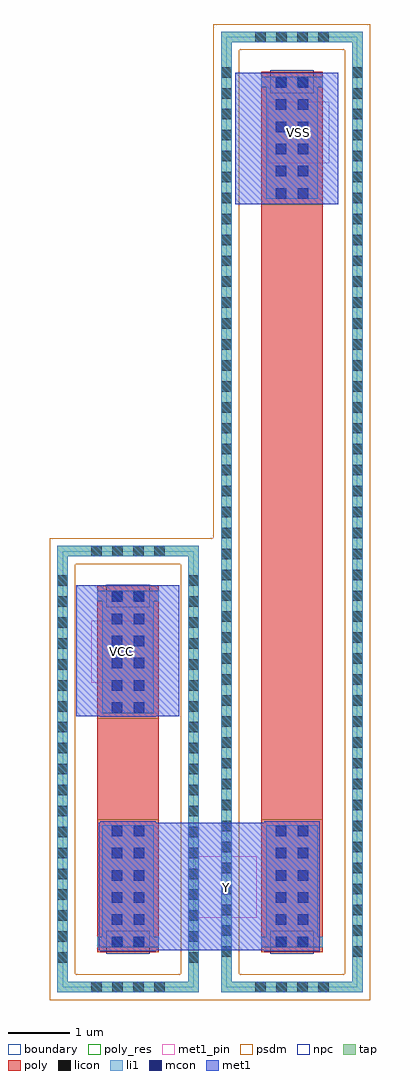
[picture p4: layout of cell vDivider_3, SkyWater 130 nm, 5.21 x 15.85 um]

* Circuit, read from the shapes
.subckt vDivider_3 VCC VSS Y
R1 VCC Y sky130_fd_pr__res_generic_po w=1 l=1.65
R2 VSS Y sky130_fd_pr__res_generic_po w=1 l=10
.ends

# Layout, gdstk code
import gdstk
lib = gdstk.Library(unit=1e-6, precision=1e-09)
def R(c, l, rs):  # rectangles x0, y0, x1, y1
    for r in rs: c.add(gdstk.rectangle(r[:2], r[2:], *l))
def A(c, l, x, y, w, h, nx, ny, dx, dy):  # array of equal rectangles
    R(c, l, [(x+i*dx, y+j*dy, x+i*dx+w, y+j*dy+h) for i in range(nx) for j in range(ny)])
tap = (65, 44)
poly_res = (66, 13)
poly = (66, 20)
licon = (66, 44)
li1 = (67, 20)
mcon = (67, 44)
met1_pin = (68, 16)
met1 = (68, 20)
psdm = (94, 20)
npc = (95, 20)
boundary = (235, 4)

sky130_fd_pr__res_generi = lib.new_cell('sky130_fd_pr__res_generic_po_4WEV9M')
R(sky130_fd_pr__res_generi, tap, [(-1.15,-3.625,1.15,-3.455), (-1.15,-3.455,-0.98,3.455), (0.98,-3.455,1.15,3.455), (-1.15,3.455,1.15,3.625)])
R(sky130_fd_pr__res_generi, poly_res, [(-0.5,-0.825,0.5,0.825)])
R(sky130_fd_pr__res_generi, poly, [(-0.5,-2.975,0.5,2.975)])
A(sky130_fd_pr__res_generi, licon, -0.595, -3.625, 0.17, 0.17, 4, 2, 0.34, 7.08)
A(sky130_fd_pr__res_generi, licon, -1.15, -3.145, 0.17, 0.17, 1, 19, 0, 0.34)
A(sky130_fd_pr__res_generi, licon, 0.98, -3.145, 0.17, 0.17, 1, 19, 0, 0.34)
R(sky130_fd_pr__res_generi, licon, [(-0.255,-2.895,-0.085,-2.725), (0.085,-2.895,0.255,-2.725), (-0.255,2.725,-0.085,2.895), (0.085,2.725,0.255,2.895)])
R(sky130_fd_pr__res_generi, li1, [(-1.15,-3.625,1.15,-3.455), (-1.15,-3.455,-0.98,3.455), (0.98,-3.455,1.15,3.455), (-0.5,-2.895,0.5,-2.725), (-0.42,-2.725,0.42,-0.91), (-0.42,0.91,0.42,2.725), (-0.5,2.725,0.5,2.895), (-1.15,3.455,1.15,3.625)])
A(sky130_fd_pr__res_generi, mcon, -0.265, -2.89, 0.17, 0.17, 1, 6, 0, 0.36)
A(sky130_fd_pr__res_generi, mcon, 0.095, -2.89, 0.17, 0.17, 1, 6, 0, 0.36)
A(sky130_fd_pr__res_generi, mcon, -0.265, 0.915, 0.17, 0.17, 1, 6, 0, 0.36)
A(sky130_fd_pr__res_generi, mcon, 0.095, 0.915, 0.17, 0.17, 1, 6, 0, 0.36)
R(sky130_fd_pr__res_generi, met1, [(-0.45,-2.955,0.45,-0.85), (-0.45,0.85,0.45,2.955)])
R(sky130_fd_pr__res_generi, psdm, [(-1.275,-3.75,1.275,-3.33), (-1.275,-3.33,-0.855,3.33), (0.855,-3.33,1.275,3.33), (-1.275,3.33,1.275,3.75)])
R(sky130_fd_pr__res_generi, npc, [(-0.355,-2.995,0.355,-2.625), (-0.355,2.625,0.355,2.995)])
R(sky130_fd_pr__res_generi, boundary, [(-1.065,-3.54,1.065,3.54)])

c_sky130_fd_pr__res_generi = lib.new_cell('sky130_fd_pr__res_generic_po_F2H9F4')
R(c_sky130_fd_pr__res_generi, tap, [(-1.15,-7.8,1.15,-7.63), (-1.15,-7.63,-0.98,7.63), (0.98,-7.63,1.15,7.63), (-1.15,7.63,1.15,7.8)])
R(c_sky130_fd_pr__res_generi, poly_res, [(-0.5,-5,0.5,5)])
R(c_sky130_fd_pr__res_generi, poly, [(-0.5,-7.15,0.5,7.15)])
A(c_sky130_fd_pr__res_generi, licon, -0.595, -7.8, 0.17, 0.17, 4, 2, 0.34, 15.43)
A(c_sky130_fd_pr__res_generi, licon, -1.15, -7.225, 0.17, 0.17, 1, 43, 0, 0.34)
A(c_sky130_fd_pr__res_generi, licon, 0.98, -7.225, 0.17, 0.17, 1, 43, 0, 0.34)
R(c_sky130_fd_pr__res_generi, licon, [(-0.255,-7.07,-0.085,-6.9), (0.085,-7.07,0.255,-6.9), (-0.255,6.9,-0.085,7.07), (0.085,6.9,0.255,7.07)])
R(c_sky130_fd_pr__res_generi, li1, [(-1.15,-7.8,1.15,-7.63), (-1.15,-7.63,-0.98,7.63), (0.98,-7.63,1.15,7.63), (-0.5,-7.07,0.5,-6.9), (-0.42,-6.9,0.42,-5.085), (-0.42,5.085,0.42,6.9), (-0.5,6.9,0.5,7.07), (-1.15,7.63,1.15,7.8)])
A(c_sky130_fd_pr__res_generi, mcon, -0.265, -7.065, 0.17, 0.17, 1, 6, 0, 0.36)
A(c_sky130_fd_pr__res_generi, mcon, 0.095, -7.065, 0.17, 0.17, 1, 6, 0, 0.36)
A(c_sky130_fd_pr__res_generi, mcon, -0.265, 5.09, 0.17, 0.17, 1, 6, 0, 0.36)
A(c_sky130_fd_pr__res_generi, mcon, 0.095, 5.09, 0.17, 0.17, 1, 6, 0, 0.36)
R(c_sky130_fd_pr__res_generi, met1, [(-0.45,-7.13,0.45,-5.025), (-0.45,5.025,0.45,7.13)])
R(c_sky130_fd_pr__res_generi, psdm, [(-1.275,-7.925,1.275,-7.505), (-1.275,-7.505,-0.855,7.505), (0.855,-7.505,1.275,7.505), (-1.275,7.505,1.275,7.925)])
R(c_sky130_fd_pr__res_generi, npc, [(-0.355,-7.17,0.355,-6.8), (-0.355,6.8,0.355,7.17)])
R(c_sky130_fd_pr__res_generi, boundary, [(-1.065,-7.715,1.065,7.715)])

vdivider_3 = lib.new_cell('vDivider_3')
R(vdivider_3, met1_pin, [(1.89,3.86,2.89,4.86), (0.2,7.68,1.2,8.68), (3.07,16.11,4.07,17.11)])
R(vdivider_3, met1, [(0.32,3.33,3.91,5.4), (-0.04,7.13,1.63,9.26), (2.54,15.45,4.21,17.58)])
R(vdivider_3, psdm, [(2.075,2.525,2.185,10.025)])
vdivider_3.add(gdstk.Reference(sky130_fd_pr__res_generi, (0.8,6.275)))
vdivider_3.add(gdstk.Reference(c_sky130_fd_pr__res_generi, (3.46,10.45)))
vdivider_3.add(gdstk.Label('VCC', (0.7,8.18), layer=68, texttype=5))
vdivider_3.add(gdstk.Label('VSS', (3.57,16.61), layer=68, texttype=5))
vdivider_3.add(gdstk.Label('Y', (2.39,4.36), layer=68, texttype=5))

lib.write_gds('vDivider_3.gds')
